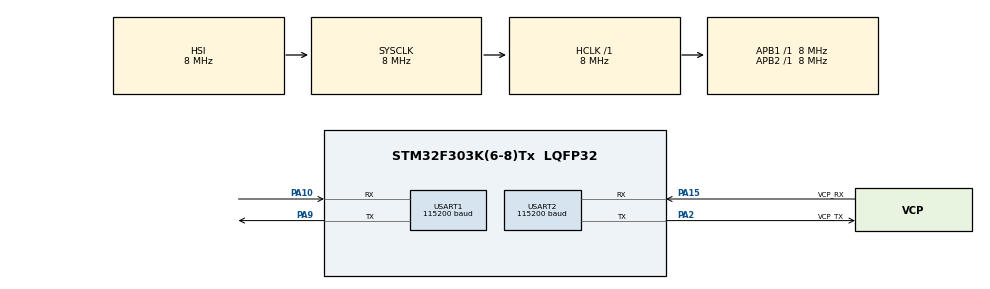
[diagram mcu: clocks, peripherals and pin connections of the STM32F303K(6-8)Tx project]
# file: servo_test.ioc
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Mcu.Family=STM32F3
Mcu.Name=STM32F303K(6-8)Tx
Mcu.Package=LQFP32
NVIC.PriorityGroup=NVIC_PRIORITYGROUP_4
NVIC.TIM1_UP_TIM16_IRQn=true\:0\:0\:false\:false\:true\:true\:true\:true
NVIC.USART1_IRQn=true\:0\:0\:false\:false\:true\:true\:true\:true
NVIC.USART2_IRQn=true\:0\:0\:false\:false\:true\:true\:true\:true
PA10.Mode=Asynchronous
PA10.Signal=USART1_RX
PA13.GPIO_Label=SWDIO
PA13.Mode=Serial_Wire
PA13.Signal=SYS_JTMS-SWDIO
PA14.GPIO_Label=SWCLK
PA14.Mode=Serial_Wire
PA14.Signal=SYS_JTCK-SWCLK
PA15.GPIO_Label=VCP_RX
PA15.Mode=Asynchronous
PA15.Signal=USART2_RX
PA2.GPIO_Label=VCP_TX
PA2.Mode=Asynchronous
PA2.Signal=USART2_TX
PA9.Mode=Asynchronous
PA9.Signal=USART1_TX
PF0\ /\ OSC_IN.GPIO_Label=MCO
PF0\ /\ OSC_IN.Mode=HSE-External-Clock-Source
PF0\ /\ OSC_IN.Signal=RCC_OSC_IN
ProjectManager.HeapSize=0x200
ProjectManager.StackSize=0x400
ProjectManager.TargetToolchain=CMake
RCC.AHBFreq_Value=8000000
RCC.APB1Freq_Value=8000000
RCC.APB2Freq_Value=8000000
RCC.CortexFreq_Value=8000000
RCC.HSE_VALUE=8000000
RCC.HSI_VALUE=8000000
RCC.SYSCLKFreq_VALUE=8000000
TIM16.Period=7999
TIM16.Prescaler=9
USART1.BaudRate=115200
USART1.Parity=PARITY_EVEN
USART1.VirtualMode-Asynchronous=VM_ASYNC
USART2.BaudRate=115200
USART2.Parity=PARITY_EVEN
USART2.VirtualMode-Asynchronous=VM_ASYNC
VP_TIM16_VS_ClockSourceINT.Mode=Enable_Timer
board=NUCLEO-F303K8

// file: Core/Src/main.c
/* USER CODE BEGIN Header */
/**
  ******************************************************************************
  * @file           : main.c
  * @brief          : Main program body
  ******************************************************************************
  * @attention
  *
  * Copyright (c) 2024 STMicroelectronics.
  * All rights reserved.
  *
  * This software is licensed under terms that can be found in the LICENSE file
  * in the root directory of this software component.
  * If no LICENSE file comes with this software, it is provided AS-IS.
  *
  ******************************************************************************
  */
/* USER CODE END Header */
#include "main.h"

TIM_HandleTypeDef htim16;

UART_HandleTypeDef huart1;
UART_HandleTypeDef huart2;

/* USER CODE BEGIN PV */
uint8_t set_id[4]={
  0xE1,//0b11100001,
  0x01,//0b00000001,
  0x01,//0b00000001,
  0x01,//0b00000001
};
uint8_t target[3][3]={{
    /*7500*/
    0b10000001,
    0b00111010,
    0b01001100
  },{
    /*4000*/
    0b10000001,
    0b00011111,
    0b00100000
  },{
    /*11000*/
    0b10000001,
    0b01010101,
    0b01111000
  }
};
int timeCount;
int flag[3];
int round;
/* USER CODE END PV */

void SystemClock_Config(void);
static void MX_GPIO_Init(void);
static void MX_USART1_UART_Init(void);
static void MX_USART2_UART_Init(void);
static void MX_TIM16_Init(void);

/* USER CODE BEGIN 0 */
void HAL_TIM_PeriodElapsedCallback(TIM_HandleTypeDef *htim)
{
    if (htim == &htim16){
      timeCount++;
      if(timeCount>=100){
        flag[0]= (round==0)?1:flag[0];
        flag[1]= (round==1)?1:flag[1];
        flag[0]= (round==2)?1:flag[0];
        flag[2]= (round==3)?1:flag[2];
        round++;
        timeCount=0;
      }
      round= (round>=4)?0:round;
    }
}
/* USER CODE END 0 */

int main(void)
{

  /* MCU Configuration--------------------------------------------------------*/

  /* Reset of all peripherals, Initializes the Flash interface and the Systick. */

  HAL_Init();

  /* Configure the system clock */
  SystemClock_Config();

  /* Initialize all configured peripherals */
  MX_GPIO_Init();
  MX_USART1_UART_Init();
  MX_USART2_UART_Init();
  MX_TIM16_Init();
  /* USER CODE BEGIN 2 */
  for(int n=0;n<4;n++){
      HAL_UART_Transmit(&huart1,&set_id[n],sizeof(set_id[n]),0xFFFF);
  }
  HAL_TIM_Base_Start_IT(&htim16);
  /* USER CODE END 2 */

  /* Infinite loop */
  /* USER CODE BEGIN WHILE */
  while (1)
  {
    //HAL_UART_Transmit(&huart2,&target[0][0],sizeof(target[0][0]),0xFFFF);
    if(flag[0]){
      for(int n=0;n<3;n++){
        //HAL_UART_Transmit(&huart1,&target[0][n],sizeof(target[0][n]),0xFFFF);
        HAL_UART_Transmit(&huart2,&target[0][n],sizeof(target[0][n]),0xFFFF);
      }
      flag[0]=0;
    }

    if(flag[1]){
      for(int n=0;n<3;n++){
        //HAL_UART_Transmit(&huart1,&target[1][n],sizeof(target[1][n]),0xFFFF);
        HAL_UART_Transmit(&huart2,&target[1][n],sizeof(target[1][n]),0xFFFF);
      }
      flag[1]=0;
    }

    if(flag[2]){
      for(int n=0;n<3;n++){
        //HAL_UART_Transmit(&huart1,&target[2][n],sizeof(target[2][n]),0xFFFF);
        HAL_UART_Transmit(&huart2,&target[2][n],sizeof(target[2][n]),0xFFFF);
      }
      flag[2]=0;
    }

    /* USER CODE END WHILE */

  }
}

void SystemClock_Config(void)
{
  RCC_OscInitTypeDef RCC_OscInitStruct = {0};
  RCC_ClkInitTypeDef RCC_ClkInitStruct = {0};
  RCC_PeriphCLKInitTypeDef PeriphClkInit = {0};

  /** Initializes the RCC Oscillators according to the specified parameters
  * in the RCC_OscInitTypeDef structure.
  */
  RCC_OscInitStruct.OscillatorType = RCC_OSCILLATORTYPE_HSI;
  RCC_OscInitStruct.HSIState = RCC_HSI_ON;
  RCC_OscInitStruct.HSICalibrationValue = RCC_HSICALIBRATION_DEFAULT;
  RCC_OscInitStruct.PLL.PLLState = RCC_PLL_NONE;
  if (HAL_RCC_OscConfig(&RCC_OscInitStruct) != HAL_OK)
  {
    Error_Handler();
  }

  /** Initializes the CPU, AHB and APB buses clocks
  */
  RCC_ClkInitStruct.ClockType = RCC_CLOCKTYPE_HCLK|RCC_CLOCKTYPE_SYSCLK
                              |RCC_CLOCKTYPE_PCLK1|RCC_CLOCKTYPE_PCLK2;
  RCC_ClkInitStruct.SYSCLKSource = RCC_SYSCLKSOURCE_HSI;
  RCC_ClkInitStruct.AHBCLKDivider = RCC_SYSCLK_DIV1;
  RCC_ClkInitStruct.APB1CLKDivider = RCC_HCLK_DIV1;
  RCC_ClkInitStruct.APB2CLKDivider = RCC_HCLK_DIV1;

  if (HAL_RCC_ClockConfig(&RCC_ClkInitStruct, FLASH_LATENCY_0) != HAL_OK)
  {
    Error_Handler();
  }
  PeriphClkInit.PeriphClockSelection = RCC_PERIPHCLK_USART1;
  PeriphClkInit.Usart1ClockSelection = RCC_USART1CLKSOURCE_PCLK1;
  if (HAL_RCCEx_PeriphCLKConfig(&PeriphClkInit) != HAL_OK)
  {
    Error_Handler();
  }
}

static void MX_TIM16_Init(void)
{

  htim16.Instance = TIM16;
  htim16.Init.Prescaler = 9;
  htim16.Init.CounterMode = TIM_COUNTERMODE_UP;
  htim16.Init.Period = 7999;
  htim16.Init.ClockDivision = TIM_CLOCKDIVISION_DIV1;
  htim16.Init.RepetitionCounter = 0;
  htim16.Init.AutoReloadPreload = TIM_AUTORELOAD_PRELOAD_DISABLE;
  if (HAL_TIM_Base_Init(&htim16) != HAL_OK)
  {
    Error_Handler();
  }

}

static void MX_USART1_UART_Init(void)
{

  huart1.Instance = USART1;
  huart1.Init.BaudRate = 115200;
  huart1.Init.WordLength = UART_WORDLENGTH_8B;
  huart1.Init.StopBits = UART_STOPBITS_1;
  huart1.Init.Parity = UART_PARITY_EVEN;
  huart1.Init.Mode = UART_MODE_TX_RX;
  huart1.Init.HwFlowCtl = UART_HWCONTROL_NONE;
  huart1.Init.OverSampling = UART_OVERSAMPLING_16;
  huart1.Init.OneBitSampling = UART_ONE_BIT_SAMPLE_DISABLE;
  huart1.AdvancedInit.AdvFeatureInit = UART_ADVFEATURE_NO_INIT;
  if (HAL_UART_Init(&huart1) != HAL_OK)
  {
    Error_Handler();
  }

}

static void MX_USART2_UART_Init(void)
{

  huart2.Instance = USART2;
  huart2.Init.BaudRate = 115200;
  huart2.Init.WordLength = UART_WORDLENGTH_8B;
  huart2.Init.StopBits = UART_STOPBITS_1;
  huart2.Init.Parity = UART_PARITY_EVEN;
  huart2.Init.Mode = UART_MODE_TX_RX;
  huart2.Init.HwFlowCtl = UART_HWCONTROL_NONE;
  huart2.Init.OverSampling = UART_OVERSAMPLING_16;
  huart2.Init.OneBitSampling = UART_ONE_BIT_SAMPLE_DISABLE;
  huart2.AdvancedInit.AdvFeatureInit = UART_ADVFEATURE_NO_INIT;
  if (HAL_UART_Init(&huart2) != HAL_OK)
  {
    Error_Handler();
  }

}

static void MX_GPIO_Init(void)
{

  /* GPIO Ports Clock Enable */
  __HAL_RCC_GPIOF_CLK_ENABLE();
  __HAL_RCC_GPIOA_CLK_ENABLE();

}

void Error_Handler(void)
{
  __disable_irq();
  while (1)
  {
  }
}
